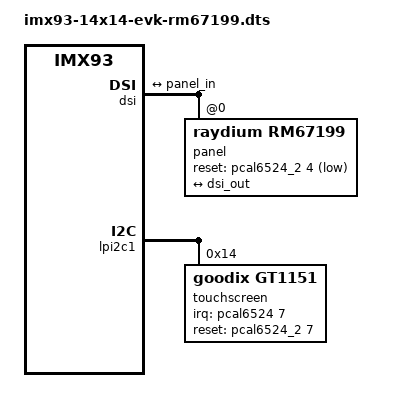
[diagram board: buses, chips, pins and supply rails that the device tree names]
// SPDX-License-Identifier: (GPL-2.0+ OR MIT)
/*
 * Copyright 2022 NXP
 */

#include "imx93-14x14-evk.dts"

&adv7535 {
	status = "disabled";
};

/delete-node/ &dsi_to_adv7535;
/delete-node/ &adv7535_to_dsi;

&dsi {
	#address-cells = <1>;
	#size-cells = <0>;

	panel@0 {
		compatible = "raydium,rm67199";
		reg = <0>;
		reset-gpio = <&pcal6524_2 4 GPIO_ACTIVE_LOW>;
		dsi-lanes = <4>;
		video-mode = <2>;	/* 0: burst mode
					 * 1: non-burst mode with sync event
					 * 2: non-burst mode with sync pulse
					 */
		width-mm = <68>;
		height-mm = <121>;
		status = "okay";

		port {
			panel_in: endpoint {
				remote-endpoint = <&dsi_out>;
			};
		};
	};

	ports {
		port@1 {
			reg = <1>;

			dsi_out: endpoint {
				remote-endpoint = <&panel_in>;
			};
		};
	};
};

&lcdif {
	assigned-clock-rates = <484000000>, <121000000>, <400000000>, <133333333>;
};

&lpi2c1 {
	touchscreen@14 {
		compatible = "goodix,gt1151";
		reg = <0x14>;
		interrupt-parent = <&pcal6524>;
		interrupts = <7 IRQ_TYPE_EDGE_FALLING>;
		irq-gpios = <&pcal6524 7 GPIO_ACTIVE_HIGH>;
		reset-gpios = <&pcal6524_2 7 GPIO_ACTIVE_HIGH>;
		edge-failling-trigger;
		touchscreen-size-x = <1080>;
		touchscreen-size-y = <1920>;
	};
};
